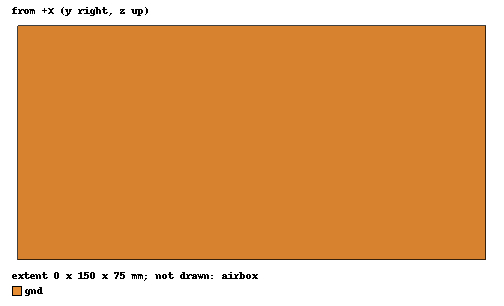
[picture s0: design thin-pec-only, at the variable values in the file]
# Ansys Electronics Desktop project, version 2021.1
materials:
  vacuum: permittivity=1

design thin-pec-only (HFSS, DrivenModal, model units mm)
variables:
  a = 75mm
  b = 150mm
  h = 3mm
  w = 2.5mm
  ePhi = 1
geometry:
  gnd = rectangle(corner=(0, -b/2, -a/2), y_size=b, z_size=a)
  airbox [vacuum] = sphere(centre=(0mm, 0mm, 0mm), radius=3*b)
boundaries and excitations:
  Rad1: Radiation Objects=airbox
  PerfE1: Perfect E Objects=gnd
  IncPWave1: Plane Incident Wave PhiStart=180deg PhiStop=180deg PhiPoints=1 ThetaStart=90deg ThetaStop=90deg ThetaPoints=1 EoPhi=1 EoTheta=0 OriginX=0mm OriginY=0mm OriginZ=0mm IsPropagating
  IncPWave2: Plane Incident Wave PhiStart=360deg PhiStop=360deg PhiPoints=1 ThetaStart=90deg ThetaStop=90deg ThetaPoints=1 EoPhi=1 EoTheta=0 OriginX=0mm OriginY=0mm OriginZ=0mm IsPropagating
  IncPWave3: Plane Incident Wave PhiStart=270deg PhiStop=270deg PhiPoints=1 ThetaStart=90deg ThetaStop=90deg ThetaPoints=1 EoPhi=1 EoTheta=0 OriginX=0mm OriginY=0mm OriginZ=0mm IsPropagating
  IncPWave4: Plane Incident Wave PhiStart=90deg PhiStop=90deg PhiPoints=1 ThetaStart=90deg ThetaStop=90deg ThetaPoints=1 EoPhi=1 EoTheta=0 OriginX=0mm OriginY=0mm OriginZ=0mm IsPropagating
  IncPWave5: Plane Incident Wave PhiStart=180deg PhiStop=180deg PhiPoints=1 ThetaStart=180deg ThetaStop=180deg ThetaPoints=1 EoPhi=1 EoTheta=0 OriginX=0mm OriginY=0mm OriginZ=0mm IsPropagating
  IncPWave6: Plane Incident Wave PhiStart=180deg PhiStop=180deg PhiPoints=1 ThetaStart=0deg ThetaStop=0deg ThetaPoints=1 EoPhi=1 EoTheta=0 OriginX=0mm OriginY=0mm OriginZ=0mm IsPropagating
  IncPWave7: Plane Incident Wave PhiStart=225deg PhiStop=225deg PhiPoints=1 ThetaStart=125.264deg ThetaStop=125.264deg ThetaPoints=1 EoPhi=1 EoTheta=0 OriginX=0mm OriginY=0mm OriginZ=0mm IsPropagating
  IncPWave8: Plane Incident Wave PhiStart=315deg PhiStop=315deg PhiPoints=1 ThetaStart=125.264deg ThetaStop=125.264deg ThetaPoints=1 EoPhi=1 EoTheta=0 OriginX=0mm OriginY=0mm OriginZ=0mm IsPropagating
  IncPWave9: Plane Incident Wave PhiStart=135deg PhiStop=135deg PhiPoints=1 ThetaStart=125.264deg ThetaStop=125.264deg ThetaPoints=1 EoPhi=1 EoTheta=0 OriginX=0mm OriginY=0mm OriginZ=0mm IsPropagating
  IncPWave10: Plane Incident Wave PhiStart=225deg PhiStop=225deg PhiPoints=1 ThetaStart=54.736deg ThetaStop=54.736deg ThetaPoints=1 EoPhi=1 EoTheta=0 OriginX=0mm OriginY=0mm OriginZ=0mm IsPropagating
  IncPWave11: Plane Incident Wave PhiStart=45deg PhiStop=45deg PhiPoints=1 ThetaStart=125.264deg ThetaStop=125.264deg ThetaPoints=1 EoPhi=1 EoTheta=0 OriginX=0mm OriginY=0mm OriginZ=0mm IsPropagating
  IncPWave12: Plane Incident Wave PhiStart=135deg PhiStop=135deg PhiPoints=1 ThetaStart=54.736deg ThetaStop=54.736deg ThetaPoints=1 EoPhi=1 EoTheta=0 OriginX=0mm OriginY=0mm OriginZ=0mm IsPropagating
  IncPWave13: Plane Incident Wave PhiStart=315deg PhiStop=315deg PhiPoints=1 ThetaStart=54.736deg ThetaStop=54.736deg ThetaPoints=1 EoPhi=1 EoTheta=0 OriginX=0mm OriginY=0mm OriginZ=0mm IsPropagating
  IncPWave14: Plane Incident Wave PhiStart=45deg PhiStop=45deg PhiPoints=1 ThetaStart=54.736deg ThetaStop=54.736deg ThetaPoints=1 EoPhi=1 EoTheta=0 OriginX=0mm OriginY=0mm OriginZ=0mm IsPropagating
  IncPWave15: Plane Incident Wave PhiStart=242.632deg PhiStop=242.632deg PhiPoints=1 ThetaStart=90deg ThetaStop=90deg ThetaPoints=1 EoPhi=1 EoTheta=0 OriginX=0mm OriginY=0mm OriginZ=0mm IsPropagating
  IncPWave16: Plane Incident Wave PhiStart=297.368deg PhiStop=297.368deg PhiPoints=1 ThetaStart=90deg ThetaStop=90deg ThetaPoints=1 EoPhi=1 EoTheta=0 OriginX=0mm OriginY=0mm OriginZ=0mm IsPropagating
  IncPWave17: Plane Incident Wave PhiStart=117.368deg PhiStop=117.368deg PhiPoints=1 ThetaStart=90deg ThetaStop=90deg ThetaPoints=1 EoPhi=1 EoTheta=0 OriginX=0mm OriginY=0mm OriginZ=0mm IsPropagating
  IncPWave18: Plane Incident Wave PhiStart=62.632deg PhiStop=62.632deg PhiPoints=1 ThetaStart=90deg ThetaStop=90deg ThetaPoints=1 EoPhi=1 EoTheta=0 OriginX=0mm OriginY=0mm OriginZ=0mm IsPropagating
  IncPWave19: Plane Incident Wave PhiStart=207.368deg PhiStop=207.368deg PhiPoints=1 ThetaStart=90deg ThetaStop=90deg ThetaPoints=1 EoPhi=1 EoTheta=0 OriginX=0mm OriginY=0mm OriginZ=0mm IsPropagating
  IncPWave20: Plane Incident Wave PhiStart=332.632deg PhiStop=332.632deg PhiPoints=1 ThetaStart=90deg ThetaStop=90deg ThetaPoints=1 EoPhi=1 EoTheta=0 OriginX=0mm OriginY=0mm OriginZ=0mm IsPropagating
  IncPWave21: Plane Incident Wave PhiStart=152.632deg PhiStop=152.632deg PhiPoints=1 ThetaStart=90deg ThetaStop=90deg ThetaPoints=1 EoPhi=1 EoTheta=0 OriginX=0mm OriginY=0mm OriginZ=0mm IsPropagating
  IncPWave22: Plane Incident Wave PhiStart=27.368deg PhiStop=27.368deg PhiPoints=1 ThetaStart=90deg ThetaStop=90deg ThetaPoints=1 EoPhi=1 EoTheta=0 OriginX=0mm OriginY=0mm OriginZ=0mm IsPropagating
  IncPWave23: Plane Incident Wave PhiStart=180deg PhiStop=180deg PhiPoints=1 ThetaStart=152.632deg ThetaStop=152.632deg ThetaPoints=1 EoPhi=1 EoTheta=0 OriginX=0mm OriginY=0mm OriginZ=0mm IsPropagating
  IncPWave24: Plane Incident Wave PhiStart=360deg PhiStop=360deg PhiPoints=1 ThetaStart=152.632deg ThetaStop=152.632deg ThetaPoints=1 EoPhi=1 EoTheta=0 OriginX=0mm OriginY=0mm OriginZ=0mm IsPropagating
  IncPWave25: Plane Incident Wave PhiStart=180deg PhiStop=180deg PhiPoints=1 ThetaStart=27.368deg ThetaStop=27.368deg ThetaPoints=1 EoPhi=1 EoTheta=0 OriginX=0mm OriginY=0mm OriginZ=0mm IsPropagating
  IncPWave26: Plane Incident Wave PhiStart=360deg PhiStop=360deg PhiPoints=1 ThetaStart=27.368deg ThetaStop=27.368deg ThetaPoints=1 EoPhi=1 EoTheta=0 OriginX=0mm OriginY=0mm OriginZ=0mm IsPropagating
  IncPWave27: Plane Incident Wave PhiStart=180deg PhiStop=180deg PhiPoints=1 ThetaStart=117.368deg ThetaStop=117.368deg ThetaPoints=1 EoPhi=1 EoTheta=0 OriginX=0mm OriginY=0mm OriginZ=0mm IsPropagating
  IncPWave28: Plane Incident Wave PhiStart=360deg PhiStop=360deg PhiPoints=1 ThetaStart=117.368deg ThetaStop=117.368deg ThetaPoints=1 EoPhi=1 EoTheta=0 OriginX=0mm OriginY=0mm OriginZ=0mm IsPropagating
  IncPWave29: Plane Incident Wave PhiStart=180deg PhiStop=180deg PhiPoints=1 ThetaStart=62.632deg ThetaStop=62.632deg ThetaPoints=1 EoPhi=1 EoTheta=0 OriginX=0mm OriginY=0mm OriginZ=0mm IsPropagating
  IncPWave30: Plane Incident Wave PhiStart=360deg PhiStop=360deg PhiPoints=1 ThetaStart=62.632deg ThetaStop=62.632deg ThetaPoints=1 EoPhi=1 EoTheta=0 OriginX=0mm OriginY=0mm OriginZ=0mm IsPropagating
  IncPWave31: Plane Incident Wave PhiStart=270deg PhiStop=270deg PhiPoints=1 ThetaStart=152.632deg ThetaStop=152.632deg ThetaPoints=1 EoPhi=1 EoTheta=0 OriginX=0mm OriginY=0mm OriginZ=0mm IsPropagating
  IncPWave32: Plane Incident Wave PhiStart=90deg PhiStop=90deg PhiPoints=1 ThetaStart=152.632deg ThetaStop=152.632deg ThetaPoints=1 EoPhi=1 EoTheta=0 OriginX=0mm OriginY=0mm OriginZ=0mm IsPropagating
  IncPWave33: Plane Incident Wave PhiStart=270deg PhiStop=270deg PhiPoints=1 ThetaStart=27.368deg ThetaStop=27.368deg ThetaPoints=1 EoPhi=1 EoTheta=0 OriginX=0mm OriginY=0mm OriginZ=0mm IsPropagating
  IncPWave34: Plane Incident Wave PhiStart=90deg PhiStop=90deg PhiPoints=1 ThetaStart=27.368deg ThetaStop=27.368deg ThetaPoints=1 EoPhi=1 EoTheta=0 OriginX=0mm OriginY=0mm OriginZ=0mm IsPropagating
  IncPWave35: Plane Incident Wave PhiStart=270deg PhiStop=270deg PhiPoints=1 ThetaStart=117.368deg ThetaStop=117.368deg ThetaPoints=1 EoPhi=1 EoTheta=0 OriginX=0mm OriginY=0mm OriginZ=0mm IsPropagating
  IncPWave36: Plane Incident Wave PhiStart=90deg PhiStop=90deg PhiPoints=1 ThetaStart=117.368deg ThetaStop=117.368deg ThetaPoints=1 EoPhi=1 EoTheta=0 OriginX=0mm OriginY=0mm OriginZ=0mm IsPropagating
  IncPWave37: Plane Incident Wave PhiStart=270deg PhiStop=270deg PhiPoints=1 ThetaStart=62.632deg ThetaStop=62.632deg ThetaPoints=1 EoPhi=1 EoTheta=0 OriginX=0mm OriginY=0mm OriginZ=0mm IsPropagating
  IncPWave38: Plane Incident Wave PhiStart=90deg PhiStop=90deg PhiPoints=1 ThetaStart=62.632deg ThetaStop=62.632deg ThetaPoints=1 EoPhi=1 EoTheta=0 OriginX=0mm OriginY=0mm OriginZ=0mm IsPropagating
  IncPWave39: Plane Incident Wave PhiStart=180deg PhiStop=180deg PhiPoints=1 ThetaStart=90deg ThetaStop=90deg ThetaPoints=1 EoPhi=0 EoTheta=1 OriginX=0mm OriginY=0mm OriginZ=0mm IsPropagating
  IncPWave40: Plane Incident Wave PhiStart=360deg PhiStop=360deg PhiPoints=1 ThetaStart=90deg ThetaStop=90deg ThetaPoints=1 EoPhi=0 EoTheta=1 OriginX=0mm OriginY=0mm OriginZ=0mm IsPropagating
  IncPWave41: Plane Incident Wave PhiStart=270deg PhiStop=270deg PhiPoints=1 ThetaStart=90deg ThetaStop=90deg ThetaPoints=1 EoPhi=0 EoTheta=1 OriginX=0mm OriginY=0mm OriginZ=0mm IsPropagating
  IncPWave42: Plane Incident Wave PhiStart=90deg PhiStop=90deg PhiPoints=1 ThetaStart=90deg ThetaStop=90deg ThetaPoints=1 EoPhi=0 EoTheta=1 OriginX=0mm OriginY=0mm OriginZ=0mm IsPropagating
  IncPWave43: Plane Incident Wave PhiStart=180deg PhiStop=180deg PhiPoints=1 ThetaStart=180deg ThetaStop=180deg ThetaPoints=1 EoPhi=0 EoTheta=1 OriginX=0mm OriginY=0mm OriginZ=0mm IsPropagating
  IncPWave44: Plane Incident Wave PhiStart=180deg PhiStop=180deg PhiPoints=1 ThetaStart=0deg ThetaStop=0deg ThetaPoints=1 EoPhi=0 EoTheta=1 OriginX=0mm OriginY=0mm OriginZ=0mm IsPropagating
  IncPWave45: Plane Incident Wave PhiStart=225deg PhiStop=225deg PhiPoints=1 ThetaStart=125.264deg ThetaStop=125.264deg ThetaPoints=1 EoPhi=0 EoTheta=1 OriginX=0mm OriginY=0mm OriginZ=0mm IsPropagating
  IncPWave46: Plane Incident Wave PhiStart=315deg PhiStop=315deg PhiPoints=1 ThetaStart=125.264deg ThetaStop=125.264deg ThetaPoints=1 EoPhi=0 EoTheta=1 OriginX=0mm OriginY=0mm OriginZ=0mm IsPropagating
  IncPWave47: Plane Incident Wave PhiStart=135deg PhiStop=135deg PhiPoints=1 ThetaStart=125.264deg ThetaStop=125.264deg ThetaPoints=1 EoPhi=0 EoTheta=1 OriginX=0mm OriginY=0mm OriginZ=0mm IsPropagating
  IncPWave48: Plane Incident Wave PhiStart=225deg PhiStop=225deg PhiPoints=1 ThetaStart=54.736deg ThetaStop=54.736deg ThetaPoints=1 EoPhi=0 EoTheta=1 OriginX=0mm OriginY=0mm OriginZ=0mm IsPropagating
  IncPWave49: Plane Incident Wave PhiStart=45deg PhiStop=45deg PhiPoints=1 ThetaStart=125.264deg ThetaStop=125.264deg ThetaPoints=1 EoPhi=0 EoTheta=1 OriginX=0mm OriginY=0mm OriginZ=0mm IsPropagating
  IncPWave50: Plane Incident Wave PhiStart=135deg PhiStop=135deg PhiPoints=1 ThetaStart=54.736deg ThetaStop=54.736deg ThetaPoints=1 EoPhi=0 EoTheta=1 OriginX=0mm OriginY=0mm OriginZ=0mm IsPropagating
  IncPWave51: Plane Incident Wave PhiStart=315deg PhiStop=315deg PhiPoints=1 ThetaStart=54.736deg ThetaStop=54.736deg ThetaPoints=1 EoPhi=0 EoTheta=1 OriginX=0mm OriginY=0mm OriginZ=0mm IsPropagating
  IncPWave52: Plane Incident Wave PhiStart=45deg PhiStop=45deg PhiPoints=1 ThetaStart=54.736deg ThetaStop=54.736deg ThetaPoints=1 EoPhi=0 EoTheta=1 OriginX=0mm OriginY=0mm OriginZ=0mm IsPropagating
  IncPWave53: Plane Incident Wave PhiStart=242.632deg PhiStop=242.632deg PhiPoints=1 ThetaStart=90deg ThetaStop=90deg ThetaPoints=1 EoPhi=0 EoTheta=1 OriginX=0mm OriginY=0mm OriginZ=0mm IsPropagating
  IncPWave54: Plane Incident Wave PhiStart=297.368deg PhiStop=297.368deg PhiPoints=1 ThetaStart=90deg ThetaStop=90deg ThetaPoints=1 EoPhi=0 EoTheta=1 OriginX=0mm OriginY=0mm OriginZ=0mm IsPropagating
  IncPWave55: Plane Incident Wave PhiStart=117.368deg PhiStop=117.368deg PhiPoints=1 ThetaStart=90deg ThetaStop=90deg ThetaPoints=1 EoPhi=0 EoTheta=1 OriginX=0mm OriginY=0mm OriginZ=0mm IsPropagating
  IncPWave56: Plane Incident Wave PhiStart=62.632deg PhiStop=62.632deg PhiPoints=1 ThetaStart=90deg ThetaStop=90deg ThetaPoints=1 EoPhi=0 EoTheta=1 OriginX=0mm OriginY=0mm OriginZ=0mm IsPropagating
  IncPWave57: Plane Incident Wave PhiStart=207.368deg PhiStop=207.368deg PhiPoints=1 ThetaStart=90deg ThetaStop=90deg ThetaPoints=1 EoPhi=0 EoTheta=1 OriginX=0mm OriginY=0mm OriginZ=0mm IsPropagating
  IncPWave58: Plane Incident Wave PhiStart=332.632deg PhiStop=332.632deg PhiPoints=1 ThetaStart=90deg ThetaStop=90deg ThetaPoints=1 EoPhi=0 EoTheta=1 OriginX=0mm OriginY=0mm OriginZ=0mm IsPropagating
  IncPWave59: Plane Incident Wave PhiStart=152.632deg PhiStop=152.632deg PhiPoints=1 ThetaStart=90deg ThetaStop=90deg ThetaPoints=1 EoPhi=0 EoTheta=1 OriginX=0mm OriginY=0mm OriginZ=0mm IsPropagating
  IncPWave60: Plane Incident Wave PhiStart=27.368deg PhiStop=27.368deg PhiPoints=1 ThetaStart=90deg ThetaStop=90deg ThetaPoints=1 EoPhi=0 EoTheta=1 OriginX=0mm OriginY=0mm OriginZ=0mm IsPropagating
  IncPWave61: Plane Incident Wave PhiStart=180deg PhiStop=180deg PhiPoints=1 ThetaStart=152.632deg ThetaStop=152.632deg ThetaPoints=1 EoPhi=0 EoTheta=1 OriginX=0mm OriginY=0mm OriginZ=0mm IsPropagating
  IncPWave62: Plane Incident Wave PhiStart=360deg PhiStop=360deg PhiPoints=1 ThetaStart=152.632deg ThetaStop=152.632deg ThetaPoints=1 EoPhi=0 EoTheta=1 OriginX=0mm OriginY=0mm OriginZ=0mm IsPropagating
  IncPWave63: Plane Incident Wave PhiStart=180deg PhiStop=180deg PhiPoints=1 ThetaStart=27.368deg ThetaStop=27.368deg ThetaPoints=1 EoPhi=0 EoTheta=1 OriginX=0mm OriginY=0mm OriginZ=0mm IsPropagating
  IncPWave64: Plane Incident Wave PhiStart=360deg PhiStop=360deg PhiPoints=1 ThetaStart=27.368deg ThetaStop=27.368deg ThetaPoints=1 EoPhi=0 EoTheta=1 OriginX=0mm OriginY=0mm OriginZ=0mm IsPropagating
  IncPWave65: Plane Incident Wave PhiStart=180deg PhiStop=180deg PhiPoints=1 ThetaStart=117.368deg ThetaStop=117.368deg ThetaPoints=1 EoPhi=0 EoTheta=1 OriginX=0mm OriginY=0mm OriginZ=0mm IsPropagating
  IncPWave66: Plane Incident Wave PhiStart=360deg PhiStop=360deg PhiPoints=1 ThetaStart=117.368deg ThetaStop=117.368deg ThetaPoints=1 EoPhi=0 EoTheta=1 OriginX=0mm OriginY=0mm OriginZ=0mm IsPropagating
  IncPWave67: Plane Incident Wave PhiStart=180deg PhiStop=180deg PhiPoints=1 ThetaStart=62.632deg ThetaStop=62.632deg ThetaPoints=1 EoPhi=0 EoTheta=1 OriginX=0mm OriginY=0mm OriginZ=0mm IsPropagating
  IncPWave68: Plane Incident Wave PhiStart=360deg PhiStop=360deg PhiPoints=1 ThetaStart=62.632deg ThetaStop=62.632deg ThetaPoints=1 EoPhi=0 EoTheta=1 OriginX=0mm OriginY=0mm OriginZ=0mm IsPropagating
  IncPWave69: Plane Incident Wave PhiStart=270deg PhiStop=270deg PhiPoints=1 ThetaStart=152.632deg ThetaStop=152.632deg ThetaPoints=1 EoPhi=0 EoTheta=1 OriginX=0mm OriginY=0mm OriginZ=0mm IsPropagating
  IncPWave70: Plane Incident Wave PhiStart=90deg PhiStop=90deg PhiPoints=1 ThetaStart=152.632deg ThetaStop=152.632deg ThetaPoints=1 EoPhi=0 EoTheta=1 OriginX=0mm OriginY=0mm OriginZ=0mm IsPropagating
  IncPWave71: Plane Incident Wave PhiStart=270deg PhiStop=270deg PhiPoints=1 ThetaStart=27.368deg ThetaStop=27.368deg ThetaPoints=1 EoPhi=0 EoTheta=1 OriginX=0mm OriginY=0mm OriginZ=0mm IsPropagating
  IncPWave72: Plane Incident Wave PhiStart=90deg PhiStop=90deg PhiPoints=1 ThetaStart=27.368deg ThetaStop=27.368deg ThetaPoints=1 EoPhi=0 EoTheta=1 OriginX=0mm OriginY=0mm OriginZ=0mm IsPropagating
  IncPWave73: Plane Incident Wave PhiStart=270deg PhiStop=270deg PhiPoints=1 ThetaStart=117.368deg ThetaStop=117.368deg ThetaPoints=1 EoPhi=0 EoTheta=1 OriginX=0mm OriginY=0mm OriginZ=0mm IsPropagating
  IncPWave74: Plane Incident Wave PhiStart=90deg PhiStop=90deg PhiPoints=1 ThetaStart=117.368deg ThetaStop=117.368deg ThetaPoints=1 EoPhi=0 EoTheta=1 OriginX=0mm OriginY=0mm OriginZ=0mm IsPropagating
  IncPWave75: Plane Incident Wave PhiStart=270deg PhiStop=270deg PhiPoints=1 ThetaStart=62.632deg ThetaStop=62.632deg ThetaPoints=1 EoPhi=0 EoTheta=1 OriginX=0mm OriginY=0mm OriginZ=0mm IsPropagating
  IncPWave76: Plane Incident Wave PhiStart=90deg PhiStop=90deg PhiPoints=1 ThetaStart=62.632deg ThetaStop=62.632deg ThetaPoints=1 EoPhi=0 EoTheta=1 OriginX=0mm OriginY=0mm OriginZ=0mm IsPropagating
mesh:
  Length1: LengthBased Objects=gnd MaxLength=10mm
  Length3: LengthBased RefineInside Objects=airbox MaxLength=70mm
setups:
  Setup1: HfssDriven Frequency=1.1388GHz MaxDeltaE=0.01 MaximumPasses=10 MinimumPasses=1 MinimumConvergedPasses=1 PercentRefinement=30 BasisOrder=1 SaveRadFieldsOnly
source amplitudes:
  IncPWave1:1: 1 0deg
  IncPWave2:1, IncPWave3:1, IncPWave4:1, IncPWave5:1, IncPWave6:1, IncPWave7:1, IncPWave8:1, IncPWave9:1, IncPWave10:1, IncPWave11:1, IncPWave12:1, IncPWave13:1, IncPWave14:1, IncPWave15:1, IncPWave16:1, IncPWave17:1, IncPWave18:1, IncPWave19:1, IncPWave20:1, IncPWave21:1, IncPWave22:1, IncPWave23:1, IncPWave24:1, IncPWave25:1, IncPWave26:1, IncPWave27:1, IncPWave28:1, IncPWave29:1, IncPWave30:1, IncPWave31:1, IncPWave32:1, IncPWave33:1, IncPWave34:1, IncPWave35:1, IncPWave36:1, IncPWave37:1, IncPWave38:1, IncPWave39:1, IncPWave40:1, IncPWave41:1, IncPWave42:1, IncPWave43:1, IncPWave44:1, IncPWave45:1, IncPWave46:1, IncPWave47:1, IncPWave48:1, IncPWave49:1, IncPWave50:1, IncPWave51:1, IncPWave52:1, IncPWave53:1, IncPWave54:1, IncPWave55:1, IncPWave56:1, IncPWave57:1, IncPWave58:1, IncPWave59:1, IncPWave60:1, IncPWave61:1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: 0 0deg
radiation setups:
  Infinite Sphere1: Infinite Sphere Theta=180deg..180deg step 0deg Phi=0deg..0deg step 0deg
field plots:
  Mesh1: MeshPlots over gnd.face on Setup1 : LastAdaptive at Freq=1.1388GHz Phase=0deg
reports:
  rE Plot 1: rETotal vs Theta on Setup1 : LastAdaptive, Infinite Sphere1 [Phi=all Freq=0.5694GHz IWavePhi=180deg IWaveTheta=90deg]
  rE Table 1: re(rEPhi), im(rEPhi), re(rETheta), im(rETheta) vs Theta on Setup1 : LastAdaptive, Infinite Sphere1 [Phi=all Freq=0.5694GHz IWavePhi=180deg IWaveTheta=90deg]
